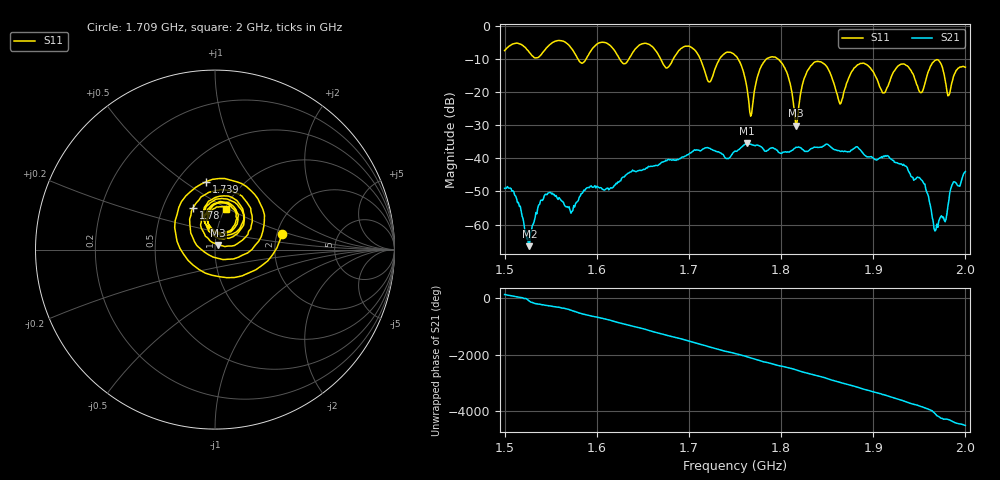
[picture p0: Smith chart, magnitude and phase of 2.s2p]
! NanoVNA-App by SYSJOINT et al v1.1.209 (+OD18)
! Date: 2026-01-21 14:25:17
! Start: 1,5GHz Stop: 2GHz Points: 501
! S-Parameter data: F S11 S21 S12 S22
# Hz S RI R 50
!  Frequency  S11_Real  S11_Imag  S21_Real  S21_Imag  S12_Real  S12_Imag  S22_Real  S22_Imag
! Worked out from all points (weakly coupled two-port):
!   501 points, 1.5 GHz to 2 GHz, reference 50 ohm
!   highest |S21| = -35.45 dB at 1.763 GHz (marker M1); lowest = -66.5 dB at 1.527 GHz (marker M2)
!   lowest |S11| = -30.1 dB at 1.816 GHz (marker M3), VSWR 1.06, Z = 51.7 + j2.69 ohm
!   |S11| at or under -10 dB: 1.712 GHz to 1.733 GHz (21.11 MHz wide, 1.23 % of centre); 1.753 GHz to 1.784 GHz (31.26 MHz wide, 1.77 % of centre); 1.796 GHz to end of sweep (the widest 3 of 6)
!   S12 and S22 are empty: the file has one direction only
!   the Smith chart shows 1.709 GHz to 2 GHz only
!   S11 on the Smith chart (normalised r, x): 1.709 GHz: 2.13, +0.44; 1.739 GHz: 0.69, +0.61; 1.78 GHz: 0.71, +0.36; 2 GHz: 1.01, +0.49
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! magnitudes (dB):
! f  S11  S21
! 1.5 GHz  -7.5  -49.1
! 1.527 GHz  -8.1  -66.5
! 1.545 GHz  -6.8  -50.9
! 1.584 GHz  -11.4  -50.6
! 1.667 GHz  -8.9  -42.0
! 1.709 GHz  -8.3  -37.5
! 1.722 GHz  -17.0  -37.0
! 1.739 GHz  -8.4  -39.7
! 1.75 GHz  -8.9  -37.8
! 1.763 GHz  -18.8  -35.4
! 1.768 GHz  -26.6  -35.9
! 1.78 GHz  -11.6  -37.0
! 1.802 GHz  -11.8  -38.1
! 1.816 GHz  -30.1  -36.7
! 1.834 GHz  -11.6  -37.0
! 1.864 GHz  -23.7  -37.9
! 1.885 GHz  -11.6  -37.2
! 1.917 GHz  -17.5  -39.5
! 1.954 GHz  -19.4  -47.1
! 1.968 GHz  -10.4  -61.5
! 1.982 GHz  -21.0  -52.8
! 2 GHz  -12.5  -44.0
